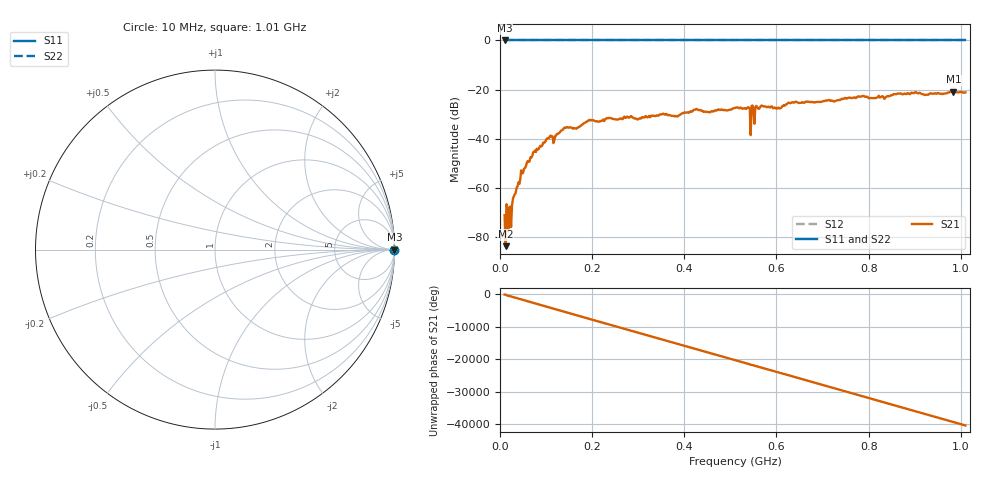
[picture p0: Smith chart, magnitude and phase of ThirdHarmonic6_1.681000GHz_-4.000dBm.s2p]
! 8/16/2025 8:10:14 PM
! C:\ANRITSUVNA\TEMP\TEMP.S2P
! CHANNEL.1
! TR.MEASUREMENT
! RAW.DATA
! RF.CORRECTION.OFF
! AVERAGING.OFF
! IF.BANDWIDTH: 5KHZ
! SWEEPTYPE:  FREQ.SWEEP(Linear)
! Reference Plane Port Info
! PORT:  PORT1  PORT2
! DISTANCE:  0  m  0  m
! TIME:  0  s  0  s
! PHASE.OFFSET:  0  deg.  0  deg.
! LOSS:  0  dB  0  dB
! REF.LOSS:  0  dB  0  dB
! REF.FREQ:  0  Hz  0  Hz
! Power Info
! POWER:  -20  dBm  -20  dBm
! EFF.POWER:  -20  dBm  -20  dBm
! SOURCE.ATTEN:  0  dB  0  dB
! TEST.ATTEN:  0  dB  0  dB
# GHZ S RI R 50.0
! FREQ.GHZ  S11RE  S11IM  S21RE  S21IM  S12RE  S12IM  S22RE  S22IM
!; PortSelection: Port_12
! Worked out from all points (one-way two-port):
!   501 points, 10 MHz to 1.01 GHz, reference 50 ohm
!   highest |S21| = -20.86 dB at 984 MHz (marker M1); lowest = -83.8 dB at 12 MHz (marker M2)
!   lowest |S11| = 0.0 dB at 10 MHz (marker M3)
!   |S11| at or under -10 dB: nowhere
!   |S22| runs from 0.0 to 0.0 dB; largest |S21 - S12| = 1.1
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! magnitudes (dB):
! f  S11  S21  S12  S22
! 10 MHz  0.0  -71.2  0.0  0.0
! 12 MHz  0.0  -83.8  0.0  0.0
! 16 MHz  0.0  -67.9  0.0  0.0
! 18 MHz  0.0  -76.7  0.0  0.0
! 22 MHz  0.0  -67.6  0.0  0.0
! 32 MHz  0.0  -62.6  0.0  0.0
! 48 MHz  0.0  -54.1  0.0  0.0
! 76 MHz  0.0  -44.8  0.0  0.0
! 142 MHz  0.0  -35.6  0.0  0.0
! 178 MHz  0.0  -34.3  0.0  0.0
! 194 MHz  0.0  -32.3  0.0  0.0
! 344 MHz  0.0  -30.6  0.0  0.0
! 510 MHz  0.0  -27.5  0.0  0.0
! 538 MHz  0.0  -27.2  0.0  0.0
! 540 MHz  0.0  -27.4  0.0  0.0
! 548 MHz  0.0  -26.5  0.0  0.0
! 550 MHz  0.0  -27.4  0.0  0.0
! 570 MHz  0.0  -26.7  0.0  0.0
! 678 MHz  0.0  -25.2  0.0  0.0
! 844 MHz  0.0  -22.7  0.0  0.0
! 984 MHz  0.0  -20.9  0.0  0.0
! 1.01 GHz  0.0  -21.1  0.0  0.0
